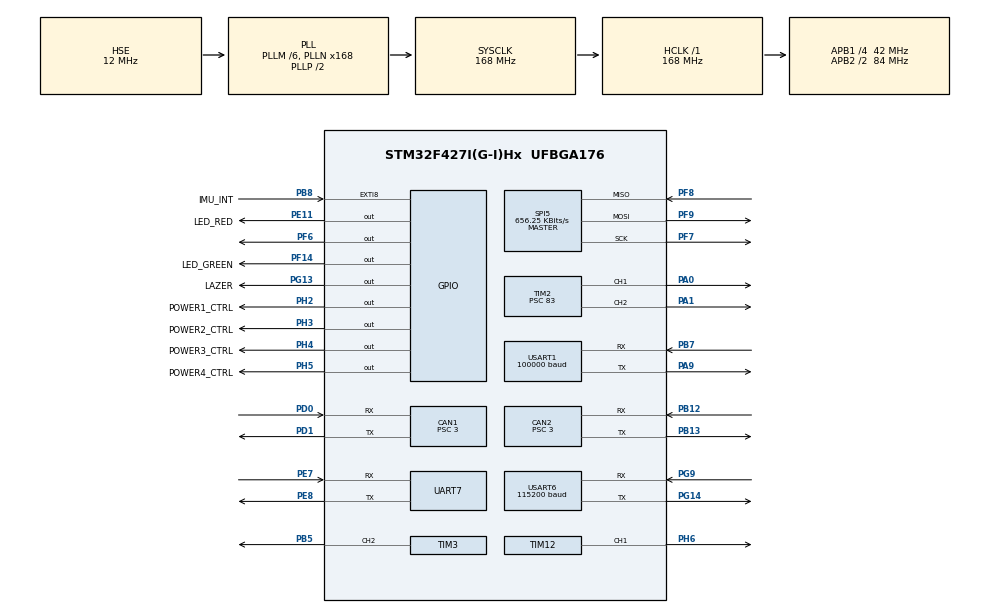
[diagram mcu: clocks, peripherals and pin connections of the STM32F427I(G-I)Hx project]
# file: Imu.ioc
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ADC1.Channel-0\#ChannelRegularConversion=ADC_CHANNEL_TEMPSENSOR
ADC1.ClockPrescaler=ADC_CLOCK_SYNC_PCLK_DIV6
ADC1.NbrOfConversionFlag=1
ADC1.Rank-0\#ChannelRegularConversion=1
ADC1.SamplingTime-0\#ChannelRegularConversion=ADC_SAMPLETIME_3CYCLES
ADC1.master=1
CAN1.BS1=CAN_BS1_10TQ
CAN1.BS2=CAN_BS2_3TQ
CAN1.CalculateBaudRate=1000000
CAN1.CalculateTimeBit=1000
CAN1.CalculateTimeQuantum=71.42857142857143
CAN1.Prescaler=3
CAN2.BS1=CAN_BS1_10TQ
CAN2.BS2=CAN_BS2_3TQ
CAN2.CalculateBaudRate=1000000
CAN2.CalculateTimeQuantum=71.42857142857143
CAN2.Prescaler=3
Dma.Request0=USART1_RX
Dma.Request1=USART6_TX
Dma.USART1_RX.0.Direction=DMA_PERIPH_TO_MEMORY
Dma.USART1_RX.0.FIFOMode=DMA_FIFOMODE_DISABLE
Dma.USART1_RX.0.Instance=DMA2_Stream2
Dma.USART1_RX.0.MemDataAlignment=DMA_MDATAALIGN_BYTE
Dma.USART1_RX.0.MemInc=DMA_MINC_ENABLE
Dma.USART1_RX.0.Mode=DMA_NORMAL
Dma.USART1_RX.0.PeriphDataAlignment=DMA_PDATAALIGN_BYTE
Dma.USART1_RX.0.PeriphInc=DMA_PINC_DISABLE
Dma.USART1_RX.0.Priority=DMA_PRIORITY_VERY_HIGH
Dma.USART6_TX.1.Direction=DMA_MEMORY_TO_PERIPH
Dma.USART6_TX.1.FIFOMode=DMA_FIFOMODE_DISABLE
Dma.USART6_TX.1.Instance=DMA2_Stream6
Dma.USART6_TX.1.MemDataAlignment=DMA_MDATAALIGN_BYTE
Dma.USART6_TX.1.MemInc=DMA_MINC_ENABLE
Dma.USART6_TX.1.Mode=DMA_NORMAL
Dma.USART6_TX.1.PeriphDataAlignment=DMA_PDATAALIGN_BYTE
Dma.USART6_TX.1.PeriphInc=DMA_PINC_DISABLE
Dma.USART6_TX.1.Priority=DMA_PRIORITY_VERY_HIGH
FREERTOS.INCLUDE_uxTaskGetStackHighWaterMark=1
FREERTOS.INCLUDE_xTaskGetHandle=1
FREERTOS.Tasks01=defaultTask,0,128,StartDefaultTask,Default,NULL,Dynamic,NULL,NULL
Mcu.Family=STM32F4
Mcu.Name=STM32F427I(G-I)Hx
Mcu.Package=UFBGA176
NVIC.CAN1_RX0_IRQn=true\:5\:0\:false\:false\:true\:true\:true\:true\:true
NVIC.CAN2_RX0_IRQn=true\:5\:0\:true\:false\:true\:true\:true\:true\:true
NVIC.DMA2_Stream2_IRQn=true\:5\:0\:false\:false\:true\:false\:true\:true\:true
NVIC.DMA2_Stream6_IRQn=true\:5\:0\:false\:false\:true\:true\:false\:true\:true
NVIC.PriorityGroup=NVIC_PRIORITYGROUP_4
NVIC.USART1_IRQn=true\:5\:0\:true\:false\:true\:true\:true\:true\:true
PA0/WKUP.Signal=S_TIM2_CH1_ETR
PA1.Signal=S_TIM2_CH2
PA13.Mode=Serial_Wire
PA13.Signal=SYS_JTMS-SWDIO
PA14.Mode=Serial_Wire
PA14.Signal=SYS_JTCK-SWCLK
PA9.Mode=Asynchronous
PA9.Signal=USART1_TX
PB12.Mode=CAN_Activate
PB12.Signal=CAN2_RX
PB13.Mode=CAN_Activate
PB13.Signal=CAN2_TX
PB5.Signal=S_TIM3_CH2
PB7.Mode=Asynchronous
PB7.Signal=USART1_RX
PB8.GPIO_Label=IMU_INT
PB8.Signal=GPXTI8
PD0.Mode=CAN_Activate
PD0.Signal=CAN1_RX
PD1.Mode=CAN_Activate
PD1.Signal=CAN1_TX
PE11.GPIO_Label=LED_RED
PE11.Signal=GPIO_Output
PE7.Mode=Asynchronous
PE7.Signal=UART7_RX
PE8.Mode=Asynchronous
PE8.Signal=UART7_TX
PF14.GPIO_Label=LED_GREEN
PF14.Signal=GPIO_Output
PF6.Signal=GPIO_Output
PF7.Mode=Full_Duplex_Master
PF7.Signal=SPI5_SCK
PF8.Mode=Full_Duplex_Master
PF8.Signal=SPI5_MISO
PF9.Mode=Full_Duplex_Master
PF9.Signal=SPI5_MOSI
PG13.GPIO_Label=LAZER
PG13.Signal=GPIO_Output
PG14.Mode=Asynchronous
PG14.Signal=USART6_TX
PG9.Mode=Asynchronous
PG9.Signal=USART6_RX
PH0/OSC_IN.Mode=HSE-External-Oscillator
PH0/OSC_IN.Signal=RCC_OSC_IN
PH1/OSC_OUT.Mode=HSE-External-Oscillator
PH1/OSC_OUT.Signal=RCC_OSC_OUT
PH2.GPIO_Label=POWER1_CTRL
PH2.Signal=GPIO_Output
PH3.GPIO_Label=POWER2_CTRL
PH3.Signal=GPIO_Output
PH4.GPIO_Label=POWER3_CTRL
PH4.Signal=GPIO_Output
PH5.GPIO_Label=POWER4_CTRL
PH5.Signal=GPIO_Output
PH6.Signal=S_TIM12_CH1
ProjectManager.HeapSize=0x200
ProjectManager.StackSize=0x400
ProjectManager.TargetToolchain=MDK-ARM V5
RCC.48MHZClocksFreq_Value=84000000
RCC.AHBFreq_Value=168000000
RCC.APB1CLKDivider=RCC_HCLK_DIV4
RCC.APB1Freq_Value=42000000
RCC.APB1TimFreq_Value=84000000
RCC.APB2CLKDivider=RCC_HCLK_DIV2
RCC.APB2Freq_Value=84000000
RCC.APB2TimFreq_Value=168000000
RCC.CortexFreq_Value=168000000
RCC.HCLKFreq_Value=168000000
RCC.HSE_VALUE=12000000
RCC.HSI_VALUE=16000000
RCC.LSE_VALUE=32768
RCC.PLLM=6
RCC.PLLN=168
RCC.PLLSourceVirtual=RCC_PLLSOURCE_HSE
RCC.SYSCLKFreq_VALUE=168000000
RCC.SYSCLKSource=RCC_SYSCLKSOURCE_PLLCLK
RCC.VCOOutputFreq_Value=336000000
SH.S_TIM12_CH1.0=TIM12_CH1,PWM Generation1 CH1
SH.S_TIM2_CH1_ETR.0=TIM2_CH1,PWM Generation1 CH1
SH.S_TIM2_CH2.0=TIM2_CH2,PWM Generation2 CH2
SH.S_TIM3_CH2.0=TIM3_CH2,PWM Generation2 CH2
SPI5.BaudRatePrescaler=SPI_BAUDRATEPRESCALER_128
SPI5.CalculateBaudRate=656.25 KBits/s
SPI5.Direction=SPI_DIRECTION_2LINES
SPI5.Mode=SPI_MODE_MASTER
SPI5.VirtualType=VM_MASTER
TIM12.Channel-PWM\ Generation1\ CH1=TIM_CHANNEL_1
TIM12.Period=50000
TIM2.Channel-PWM\ Generation1\ CH1=TIM_CHANNEL_1
TIM2.Channel-PWM\ Generation2\ CH2=TIM_CHANNEL_2
TIM2.Period=19999
TIM2.Prescaler=83
TIM2.Pulse-PWM\ Generation1\ CH1=1000
TIM2.Pulse-PWM\ Generation2\ CH2=1000
TIM3.Channel-PWM\ Generation2\ CH2=TIM_CHANNEL_2
TIM3.Period=4999
UART7.VirtualMode=Asynchronous
USART1.BaudRate=100000
USART1.VirtualMode=VM_ASYNC
USART6.BaudRate=115200
USART6.VirtualMode=VM_ASYNC
VP_ADC1_TempSens_Input.Mode=IN-TempSens
VP_ADC1_Vref_Input.Mode=IN-Vrefint
VP_FREERTOS_VS_CMSIS_V1.Mode=CMSIS_V1
VP_TIM12_VS_ClockSourceINT.Mode=Internal
VP_TIM2_VS_ClockSourceINT.Mode=Internal
VP_TIM3_VS_ClockSourceINT.Mode=Internal
board=Imu

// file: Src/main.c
/* USER CODE BEGIN Header */
/**
  ******************************************************************************
  * @file           : main.c
  * @brief          : Main program body
  ******************************************************************************
  * @attention
  *
  * Copyright (c) 2023 STMicroelectronics.
  * All rights reserved.
  *
  * This software is licensed under terms that can be found in the LICENSE file
  * in the root directory of this software component.
  * If no LICENSE file comes with this software, it is provided AS-IS.
  *
  ******************************************************************************
  */
/* USER CODE END Header */
#include "main.h"
#include "cmsis_os.h"
#include "adc.h"
#include "can.h"
#include "dma.h"
#include "spi.h"
#include "tim.h"
#include "usart.h"
#include "gpio.h"

/* USER CODE BEGIN Includes */
#include "bsp_imu.h"
#include "calibrate_task.h"
#include "remote_control.h"
#include "bsp_rc.h"
#include "bsp_can.h"
#include "bsp_usart.h"
/* USER CODE END Includes */

/* USER CODE BEGIN PV */
/* Private variables ---------------------------------------------------------*/
extern UART_HandleTypeDef huart6;
extern imu_t              imu;
char buf[300];
int count;
/* USER CODE END PV */

void SystemClock_Config(void);
void MX_FREERTOS_Init(void);
/* USER CODE BEGIN PFP */
/* Private function prototypes -----------------------------------------------*/

/* USER CODE END PFP */

int main(void)
{

  /* MCU Configuration--------------------------------------------------------*/

  /* Reset of all peripherals, Initializes the Flash interface and the Systick. */
  HAL_Init();

  /* Configure the system clock */
  SystemClock_Config();

  /* Initialize all configured peripherals */
  MX_GPIO_Init();
  MX_DMA_Init();
  MX_SPI5_Init();
  MX_USART6_UART_Init();
  MX_CAN2_Init();
  MX_TIM12_Init();
  MX_USART1_UART_Init();
  MX_CAN1_Init();
  MX_TIM2_Init();
  MX_TIM3_Init();
  MX_ADC1_Init();
  MX_UART7_Init();
  /* USER CODE BEGIN 2 */
	led_off();
	remote_control_init();
	can_filter_init();
	cali_param_init();
	usart6_tx_dma_init();
	HAL_GPIO_WritePin(POWER1_CTRL_GPIO_Port, POWER1_CTRL_Pin, GPIO_PIN_SET);
	HAL_GPIO_WritePin(POWER2_CTRL_GPIO_Port, POWER2_CTRL_Pin, GPIO_PIN_SET);
	HAL_GPIO_WritePin(POWER3_CTRL_GPIO_Port, POWER3_CTRL_Pin, GPIO_PIN_SET);
	HAL_GPIO_WritePin(POWER4_CTRL_GPIO_Port, POWER4_CTRL_Pin, GPIO_PIN_SET);
	HAL_TIM_PWM_Start(&htim2, TIM_CHANNEL_1);    /* ����PWMͨ��1  50Hz*/
	HAL_TIM_PWM_Start(&htim2, TIM_CHANNEL_2);    /* ����PWMͨ��2  50KHz*/
	HAL_TIM_PWM_Start(&htim3, TIM_CHANNEL_2);    /* ����PWMͨ��2  50KHz*/
  /* USER CODE END 2 */

  /* Call init function for freertos objects (in freertos.c) */
  MX_FREERTOS_Init();

  /* Start scheduler */
  osKernelStart();
  /* We should never get here as control is now taken by the scheduler */
  /* Infinite loop */
  while (1)
  {

  }
}

void SystemClock_Config(void)
{
  RCC_OscInitTypeDef RCC_OscInitStruct = {0};
  RCC_ClkInitTypeDef RCC_ClkInitStruct = {0};

  /** Configure the main internal regulator output voltage
  */
  __HAL_RCC_PWR_CLK_ENABLE();
  __HAL_PWR_VOLTAGESCALING_CONFIG(PWR_REGULATOR_VOLTAGE_SCALE1);

  /** Initializes the RCC Oscillators according to the specified parameters
  * in the RCC_OscInitTypeDef structure.
  */
  RCC_OscInitStruct.OscillatorType = RCC_OSCILLATORTYPE_HSE;
  RCC_OscInitStruct.HSEState = RCC_HSE_ON;
  RCC_OscInitStruct.PLL.PLLState = RCC_PLL_ON;
  RCC_OscInitStruct.PLL.PLLSource = RCC_PLLSOURCE_HSE;
  RCC_OscInitStruct.PLL.PLLM = 6;
  RCC_OscInitStruct.PLL.PLLN = 168;
  RCC_OscInitStruct.PLL.PLLP = RCC_PLLP_DIV2;
  RCC_OscInitStruct.PLL.PLLQ = 4;
  if (HAL_RCC_OscConfig(&RCC_OscInitStruct) != HAL_OK)
  {
    Error_Handler();
  }

  /** Initializes the CPU, AHB and APB buses clocks
  */
  RCC_ClkInitStruct.ClockType = RCC_CLOCKTYPE_HCLK|RCC_CLOCKTYPE_SYSCLK
                              |RCC_CLOCKTYPE_PCLK1|RCC_CLOCKTYPE_PCLK2;
  RCC_ClkInitStruct.SYSCLKSource = RCC_SYSCLKSOURCE_PLLCLK;
  RCC_ClkInitStruct.AHBCLKDivider = RCC_SYSCLK_DIV1;
  RCC_ClkInitStruct.APB1CLKDivider = RCC_HCLK_DIV4;
  RCC_ClkInitStruct.APB2CLKDivider = RCC_HCLK_DIV2;

  if (HAL_RCC_ClockConfig(&RCC_ClkInitStruct, FLASH_LATENCY_5) != HAL_OK)
  {
    Error_Handler();
  }
}

void Error_Handler(void)
{
  while(1)
  {
  }
}

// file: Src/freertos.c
/* USER CODE BEGIN Header */
/**
  ******************************************************************************
  * File Name          : freertos.c
  * Description        : Code for freertos applications
  ******************************************************************************
  * @attention
  *
  * Copyright (c) 2023 STMicroelectronics.
  * All rights reserved.
  *
  * This software is licensed under terms that can be found in the LICENSE file
  * in the root directory of this software component.
  * If no LICENSE file comes with this software, it is provided AS-IS.
  *
  ******************************************************************************
  */
/* USER CODE END Header */

#include "FreeRTOS.h"
#include "task.h"
#include "main.h"
#include "cmsis_os.h"

/* USER CODE BEGIN Includes */
#include "bsp_imu.h"
#include "calibrate_task.h"
#include "gimbal_task.h"
#include "voltage_task.h"
#include "sound_effects_task.h"
/* USER CODE END Includes */

/* USER CODE BEGIN Variables */
osThreadId imuTaskHandle;
osThreadId calibrate_tast_handle;
osThreadId gimbalTaskHandle;
osThreadId battery_voltage_handle;
osThreadId sound_task_handle;
/* USER CODE END Variables */
osThreadId defaultTaskHandle;

void StartDefaultTask(void const * argument);

void MX_FREERTOS_Init(void); /* (MISRA C 2004 rule 8.1) */

/* GetIdleTaskMemory prototype (linked to static allocation support) */
void vApplicationGetIdleTaskMemory( StaticTask_t **ppxIdleTaskTCBBuffer, StackType_t **ppxIdleTaskStackBuffer, uint32_t *pulIdleTaskStackSize );

/* USER CODE BEGIN GET_IDLE_TASK_MEMORY */
static StaticTask_t xIdleTaskTCBBuffer;
static StackType_t xIdleStack[configMINIMAL_STACK_SIZE];

void vApplicationGetIdleTaskMemory( StaticTask_t **ppxIdleTaskTCBBuffer, StackType_t **ppxIdleTaskStackBuffer, uint32_t *pulIdleTaskStackSize )
{
  *ppxIdleTaskTCBBuffer = &xIdleTaskTCBBuffer;
  *ppxIdleTaskStackBuffer = &xIdleStack[0];
  *pulIdleTaskStackSize = configMINIMAL_STACK_SIZE;
  /* place for user code */
}
/* USER CODE END GET_IDLE_TASK_MEMORY */

void MX_FREERTOS_Init(void) {

  /* Create the thread(s) */
  /* definition and creation of defaultTask */
  osThreadDef(defaultTask, StartDefaultTask, osPriorityNormal, 0, 128);
  defaultTaskHandle = osThreadCreate(osThread(defaultTask), NULL);

  /* USER CODE BEGIN RTOS_THREADS */
  /* add threads, ... */
	osThreadDef(IMUTask, INS_task, osPriorityRealtime, 0, 1024);
  imuTaskHandle = osThreadCreate(osThread(IMUTask), NULL);

	osThreadDef(cali, calibrate_task, osPriorityNormal, 0, 512);
  calibrate_tast_handle = osThreadCreate(osThread(cali), NULL);

	osThreadDef(gimbalTask, gimbal_task, osPriorityHigh, 0, 512);
	gimbalTaskHandle = osThreadCreate(osThread(gimbalTask), NULL);

	osThreadDef(BATTERY_VOLTAGE, battery_voltage_task, osPriorityNormal, 0, 128);
	battery_voltage_handle = osThreadCreate(osThread(BATTERY_VOLTAGE), NULL);

	osThreadDef(SoundTask, buzzer_effects_task, osPriorityNormal, 0, 128);
	sound_task_handle = osThreadCreate(osThread(SoundTask), NULL);
  /* USER CODE END RTOS_THREADS */

}

void StartDefaultTask(void const * argument)
{
  for(;;)
  {
    osDelay(1);
  }
}
